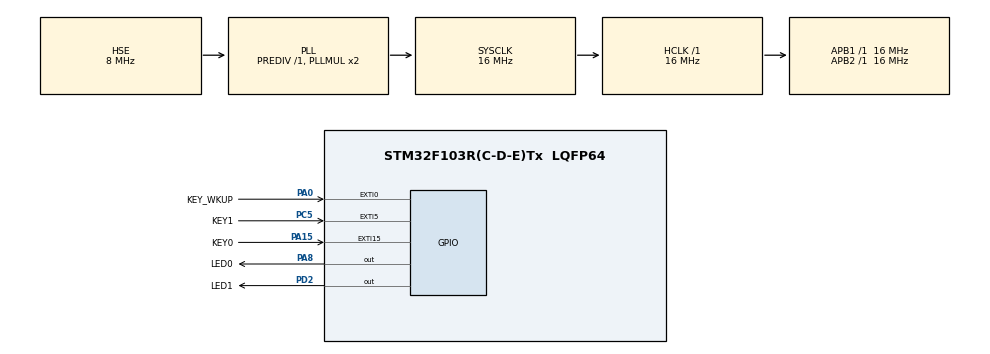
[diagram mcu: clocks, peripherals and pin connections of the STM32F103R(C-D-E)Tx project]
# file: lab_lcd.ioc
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Mcu.Family=STM32F1
Mcu.Name=STM32F103R(C-D-E)Tx
Mcu.Package=LQFP64
NVIC.EXTI0_IRQn=true\:1\:0\:true\:false\:true\:true\:true\:true
NVIC.EXTI15_10_IRQn=true\:1\:2\:true\:false\:true\:true\:true\:true
NVIC.EXTI9_5_IRQn=true\:1\:1\:true\:false\:true\:true\:true\:true
NVIC.PriorityGroup=NVIC_PRIORITYGROUP_2
PA0-WKUP.GPIO_Label=KEY_WKUP
PA0-WKUP.GPIO_PuPd=GPIO_PULLDOWN
PA0-WKUP.Signal=GPXTI0
PA13.Mode=Serial_Wire
PA13.Signal=SYS_JTMS-SWDIO
PA14.Mode=Serial_Wire
PA14.Signal=SYS_JTCK-SWCLK
PA15.GPIO_Label=KEY0
PA15.GPIO_PuPd=GPIO_PULLUP
PA15.Signal=GPXTI15
PA8.GPIO_Label=LED0
PA8.GPIO_Speed=GPIO_SPEED_FREQ_HIGH
PA8.Signal=GPIO_Output
PC5.GPIO_Label=KEY1
PC5.GPIO_PuPd=GPIO_PULLUP
PC5.Signal=GPXTI5
PD0-OSC_IN.Mode=HSE-External-Oscillator
PD0-OSC_IN.Signal=RCC_OSC_IN
PD1-OSC_OUT.Mode=HSE-External-Oscillator
PD1-OSC_OUT.Signal=RCC_OSC_OUT
PD2.GPIO_Label=LED1
PD2.GPIO_Speed=GPIO_SPEED_FREQ_HIGH
PD2.Signal=GPIO_Output
ProjectManager.HeapSize=0x200
ProjectManager.StackSize=0x400
ProjectManager.TargetToolchain=CMake
RCC.AHBFreq_Value=16000000
RCC.APB1Freq_Value=16000000
RCC.APB1TimFreq_Value=16000000
RCC.APB2Freq_Value=16000000
RCC.APB2TimFreq_Value=16000000
RCC.HCLKFreq_Value=16000000
RCC.PLLSourceVirtual=RCC_PLLSOURCE_HSE
RCC.SYSCLKFreq_VALUE=16000000
RCC.SYSCLKSource=RCC_SYSCLKSOURCE_PLLCLK
RCC.USBFreq_Value=16000000
board=custom

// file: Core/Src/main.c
/* USER CODE BEGIN Header */
/**
 ******************************************************************************
 * @file           : main.c
 * @brief          : Main program body
 ******************************************************************************
 * @attention
 *
 * Copyright (c) 2024 STMicroelectronics.
 * All rights reserved.
 *
 * This software is licensed under terms that can be found in the LICENSE file
 * in the root directory of this software component.
 * If no LICENSE file comes with this software, it is provided AS-IS.
 *
 ******************************************************************************
 */
/* USER CODE END Header */
#include "main.h"
#include "gpio.h"

/* USER CODE BEGIN Includes */
#include "lcd.h"
#include "stm32f103xe.h"
#include "stm32f1xx_hal_gpio.h"
/* USER CODE END Includes */

void SystemClock_Config(void);

/* USER CODE BEGIN 0 */
volatile uint8_t flag_display = 0;
/* USER CODE END 0 */

int main(void)
{

  /* MCU Configuration--------------------------------------------------------*/

  /* Reset of all peripherals, Initializes the Flash interface and the Systick. */
  HAL_Init();

  /* Configure the system clock */
  SystemClock_Config();

  /* USER CODE BEGIN SysInit */
  LCD_Init();
  /* USER CODE END SysInit */

  /* Initialize all configured peripherals */
  MX_GPIO_Init();
  /* USER CODE BEGIN 2 */
  uint8_t str_keywkup[22] = "KEY_WAKEUP is pressed";
  uint8_t str_key0[16] = "KEY0 is pressed";
  uint8_t str_key1[16] = "KEY1 is pressed";
  uint8_t str_standby[24] = "Listening KEY interrupt";
  uint8_t *msg_array[4] = {str_standby, str_keywkup, str_key0, str_key1};
  uint8_t cached_flag_display = flag_display;
  /* USER CODE END 2 */

  /* Infinite loop */
  /* USER CODE BEGIN WHILE */
  LCD_Clear(WHITE);
  BACK_COLOR = WHITE;
  POINT_COLOR = BLACK;
  while (1)
  {
    /* USER CODE END WHILE */

    /* USER CODE BEGIN 3 */
    if (cached_flag_display != flag_display)
    {
      LCD_Clear(WHITE);
      BACK_COLOR = WHITE;
      POINT_COLOR = BLACK;
    }
    LCD_ShowString(30, 40, 200, 12, 12, msg_array[flag_display]);
    cached_flag_display = flag_display;
    /* USER CODE END 3 */
  }
}

void SystemClock_Config(void)
{
  RCC_OscInitTypeDef RCC_OscInitStruct = {0};
  RCC_ClkInitTypeDef RCC_ClkInitStruct = {0};

  /** Initializes the RCC Oscillators according to the specified parameters
   * in the RCC_OscInitTypeDef structure.
   */
  RCC_OscInitStruct.OscillatorType = RCC_OSCILLATORTYPE_HSE;
  RCC_OscInitStruct.HSEState = RCC_HSE_ON;
  RCC_OscInitStruct.HSEPredivValue = RCC_HSE_PREDIV_DIV1;
  RCC_OscInitStruct.HSIState = RCC_HSI_ON;
  RCC_OscInitStruct.PLL.PLLState = RCC_PLL_ON;
  RCC_OscInitStruct.PLL.PLLSource = RCC_PLLSOURCE_HSE;
  RCC_OscInitStruct.PLL.PLLMUL = RCC_PLL_MUL2;
  if (HAL_RCC_OscConfig(&RCC_OscInitStruct) != HAL_OK)
  {
    Error_Handler();
  }

  /** Initializes the CPU, AHB and APB buses clocks
   */
  RCC_ClkInitStruct.ClockType = RCC_CLOCKTYPE_HCLK | RCC_CLOCKTYPE_SYSCLK | RCC_CLOCKTYPE_PCLK1 | RCC_CLOCKTYPE_PCLK2;
  RCC_ClkInitStruct.SYSCLKSource = RCC_SYSCLKSOURCE_PLLCLK;
  RCC_ClkInitStruct.AHBCLKDivider = RCC_SYSCLK_DIV1;
  RCC_ClkInitStruct.APB1CLKDivider = RCC_HCLK_DIV1;
  RCC_ClkInitStruct.APB2CLKDivider = RCC_HCLK_DIV1;

  if (HAL_RCC_ClockConfig(&RCC_ClkInitStruct, FLASH_LATENCY_0) != HAL_OK)
  {
    Error_Handler();
  }
}

/* USER CODE BEGIN 4 */
void custom_HAL_GPIO_EXTI_IRQHandler(uint16_t GPIO_Pin)
{
  // uint8_t exti_num_array[3] = {EXTI0_IRQn, EXTI9_5_IRQn, EXTI15_10_IRQn};
  if (__HAL_GPIO_EXTI_GET_IT(GPIO_Pin) != 0x00u)
  {
    HAL_Delay(75);
    __HAL_GPIO_EXTI_CLEAR_IT(GPIO_Pin);
    LCD_Fill(30, 40, 320, 52, WHITE);
    HAL_Delay(25);
    switch (GPIO_Pin)
    {
    case KEY_WKUP_Pin:
      modify_flag(&flag_display, 1);
      break;
    case KEY0_Pin:
      modify_flag(&flag_display, 2);
      break;
    case KEY1_Pin:
      modify_flag(&flag_display, 3);
      break;
    default:
      break;
    }
  }
}

inline void modify_flag(uint8_t *flag_ptr, uint8_t flag_value)
{
  if (*flag_ptr != flag_value)
    *flag_ptr = flag_value;
}
/* USER CODE END 4 */

void Error_Handler(void)
{
  __disable_irq();
  while (1)
  {
  }
}
